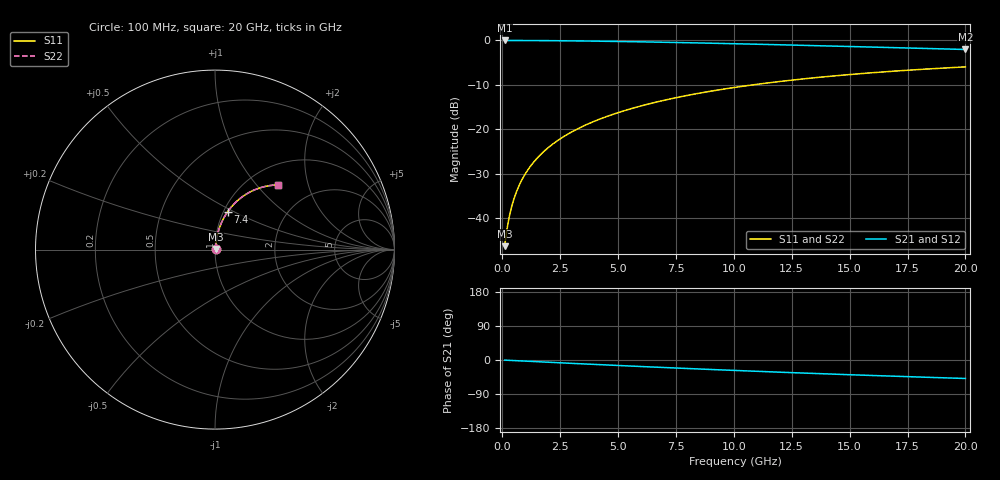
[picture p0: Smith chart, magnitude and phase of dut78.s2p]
! Touchstone file exported from HFSS 2024.1.0
!  File:  C:/UserFiles/LocalFiles/RDL_TSV_Batchsim/temp_RDL_bottom_78_1778694231.aedt
!  Generated:  01:46:42 AM May 14, 2026
!  Design:  RDL_bottom
!  Project:  temp_RDL_bottom_78_1778694231
!  Setup:  Setup1
!  Solution:  Sweep
! Variables:
!  dtsv = 10.80580581um
!  hbump = 3um
!  htsv = 76.91um
!  ldown = 657.74um
!  lrdl = 100um
!  p = 40
!  p1 = 53.91um
!  rhole = 1um
!  t = 450um
!  tdown = 4.68um
!  trdl = 3.915915916um
!  wdown = 14.21um
!  wrdl = 20um
# GHz S MA R 50.000000
! Terminal data exported
! Port[1] = RDL1_T1
! Port[2] = RDL1_T2
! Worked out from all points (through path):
!   200 points, 100 MHz to 20 GHz, reference 50 ohm
!   highest |S21| = -0.03 dB at 100 MHz (marker M1); lowest = -2.1 dB at 20 GHz (marker M2)
!   group delay of S21, straight-line fit = 6.76 ps
!   lowest |S11| = -46.3 dB at 100 MHz (marker M3), VSWR 1.01, Z = 50.4 + j0.326 ohm
!   |S11| at or under -10 dB: start of sweep to 10.85 GHz
!   |S22| runs from -46.3 to -6.0 dB; largest |S21 - S12| = 8.5e-15
!   S11 on the Smith chart (normalised r, x): 100 MHz: 1.01, +0.01; 7.4 GHz: 1.05, +0.47; 20 GHz: 1.35, +1.31
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0.1  0.004828 42.2  0.9964 -0.3  0.9964 -0.3  0.004828 42.2
! Gamma 0 0 0 0
! Port Impedance 50 0 50 0
0.2  0.007426 60.1  0.9963 -0.6  0.9963 -0.6  0.007426 60.1
0.3  0.01033 68.1  0.9962 -0.9  0.9962 -0.9  0.01033 68.1
0.4  0.01332 72.4  0.996 -1.2  0.996 -1.2  0.01332 72.4
0.5  0.01635 75.1  0.9958 -1.5  0.9958 -1.5  0.01635 75.1
0.6  0.01939 76.9  0.9957 -1.8  0.9957 -1.8  0.01939 76.9
0.8  0.0255 79.1  0.9953 -2.4  0.9953 -2.4  0.0255 79.1
1.1  0.03473 80.7  0.9946 -3.3  0.9946 -3.3  0.03473 80.7
1.5  0.04707 81.4  0.9934 -4.5  0.9934 -4.5  0.04707 81.4
1.8  0.05632 81.5  0.9923 -5.4  0.9923 -5.4  0.05632 81.5
2.1  0.06557 81.3  0.991 -6.2  0.991 -6.2  0.06557 81.3
2.7  0.08401 80.7  0.988 -8.0  0.988 -8.0  0.08401 80.7
3.5  0.1084 79.4  0.9829 -10.3  0.9829 -10.3  0.1084 79.4
4.2  0.1296 78.1  0.9777 -12.3  0.9777 -12.3  0.1296 78.1
5  0.1535 76.5  0.971 -14.5  0.971 -14.5  0.1535 76.5
6.8  0.2062 72.8  0.9533 -19.4  0.9533 -19.4  0.2062 72.8
7.4  0.2233 71.5  0.9468 -20.9  0.9468 -20.9  0.2233 71.5
8.7  0.2595 68.6  0.9319 -24.3  0.9319 -24.3  0.2595 68.6
10.1  0.2969 65.6  0.915 -27.7  0.915 -27.7  0.2969 65.6
13.4  0.3773 58.5  0.8728 -35.4  0.8728 -35.4  0.3773 58.5
16.7  0.4458 51.9  0.83 -42.4  0.83 -42.4  0.4458 51.9
20  0.5025 45.8  0.7886 -48.8  0.7886 -48.8  0.5025 45.8
